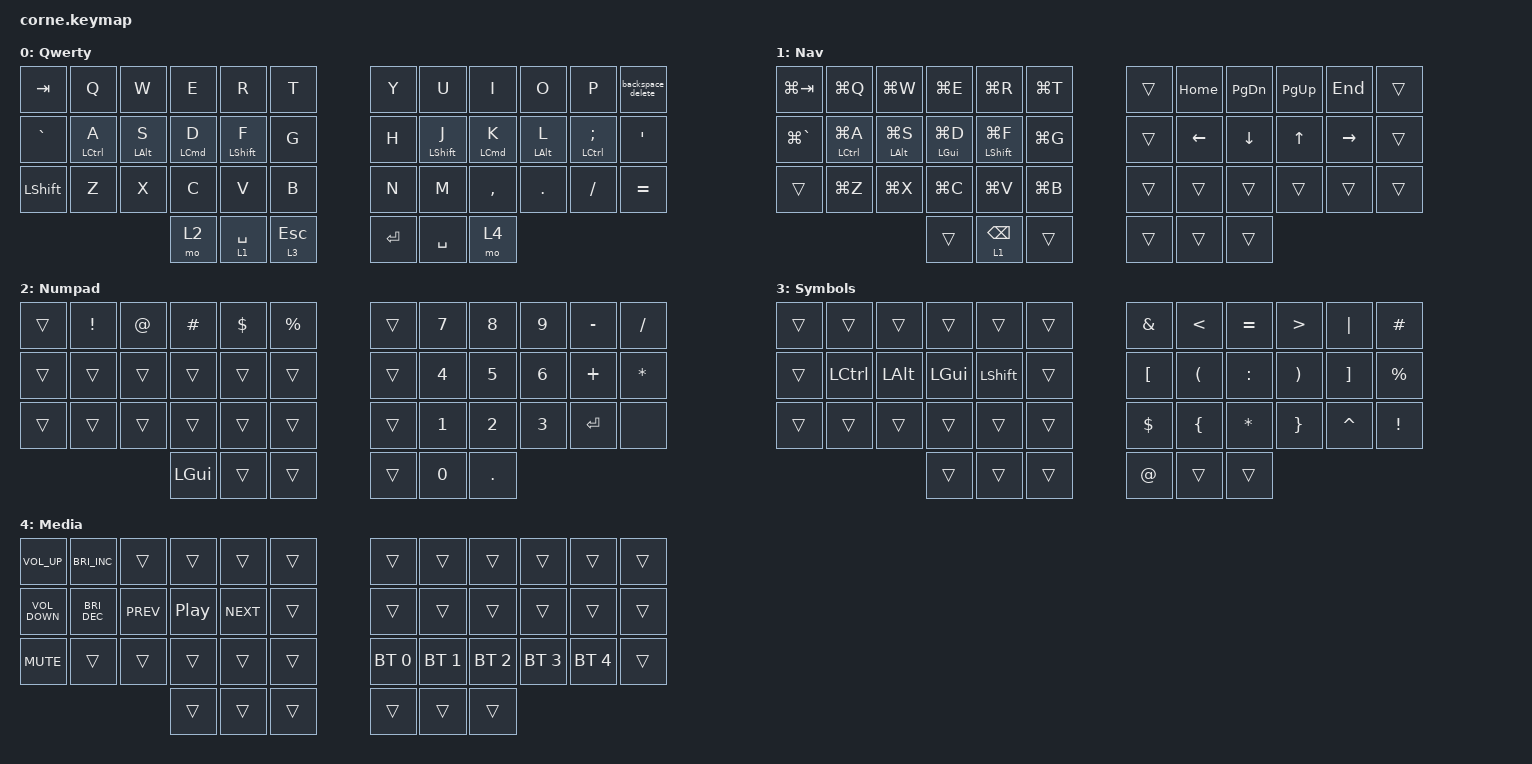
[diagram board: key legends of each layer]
/*
 * Copyright (c) 2020 The ZMK Contributors
 *
 * SPDX-License-Identifier: MIT
 */

#include <behaviors.dtsi>
#include <dt-bindings/zmk/bt.h>
#include <dt-bindings/zmk/keys.h>

&led_strip { chain-length = <27>; };

/ {
    behaviors {
        hml: hml {
            compatible = "zmk,behavior-hold-tap";
            label = "HML";
            #binding-cells = <2>;
            require-prior-idle-ms = <150>;
            tapping-term-ms = <280>;
            quick-tap-ms = <175>;
            flavor = "balanced";
            hold-trigger-key-positions = <39 40 6 7 8 9 10 11 18 19 20 21 22 23 30 31 32 33 34 35 40 41 36 37 38>;
            hold-trigger-on-release;
            bindings = <&kp>, <&kp>;
        };

        hmr: hmr {
            compatible = "zmk,behavior-hold-tap";
            label = "HMR";
            #binding-cells = <2>;
            bindings = <&kp>, <&kp>;

            tapping-term-ms = <280>;
            quick-tap-ms = <175>;
            require-prior-idle-ms = <150>;
            flavor = "balanced";
            hold-trigger-key-positions = <0 1 2 3 4 5 12 13 14 15 16 17 24 25 26 27 28 29 36 37 38 39 40 41>;
            hold-trigger-on-release;
        };

        backspace_delete: backspace_delete {
            compatible = "zmk,behavior-mod-morph";
            label = "BACKSPACE_DELETE";
            bindings = <&kp BACKSPACE>, <&kp DELETE>;

            #binding-cells = <0>;
            mods = <(MOD_LSFT|MOD_RSFT)>;
        };
    };

    combos {
        compatible = "zmk,combos";

        Caps {
            bindings = <&caps_word>;
            key-positions = <16 19>;
            layers = <0>;
        };
    };

    keymap {
        compatible = "zmk,keymap";

        QWERTY {
            // -----------------------------------------------------------------------------------------
            // |  TAB |  Q  |  W  |  E  |  R  |  T  |   |  Y  |  U   |  I  |  O  |  P  | BKSP |
            // | CTRL |  A  |  S  |  D  |  F  |  G  |   |  H  |  J   |  K  |  L  |  ;  |  '   |
            // | SHFT |  Z  |  X  |  C  |  V  |  B  |   |  N  |  M   |  ,  |  .  |  /  | SHFT |
            //                    | GUI | LWR | ENT |   | SPC | RSE  | ALT |

            display-name = "Qwerty";
            bindings = <
&kp TAB         &kp Q         &kp W            &kp E                &kp R          &kp T        &kp Y    &kp U              &kp I                &kp O            &kp P            &backspace_delete
&kp GRAVE       &hml LCTRL A  &hml LEFT_ALT S  &hml LEFT_COMMAND D  &hml LSHIFT F  &kp G        &kp H    &hmr LEFT_SHIFT J  &hmr LEFT_COMMAND K  &hmr LEFT_ALT L  &hmr LCTRL SEMI  &kp SQT
&kp LEFT_SHIFT  &kp Z         &kp X            &kp C                &kp V          &kp B        &kp N    &kp M              &kp COMMA            &kp DOT          &kp FSLH         &kp EQUAL
                                               &mo 2                &lt 1 SPACE    &lt 3 ESC    &kp RET  &kp SPACE          &mo 4
            >;
        };

        Navigation {
            // -----------------------------------------------------------------------------------------
            // |  TAB |  1    |  2  |  3  |  4  |  5  |   |  6  |  7  |  8  |  9  |  0  | BKSP |
            // | LCTRL| BTCLR | BT0 | BT1 | BT2 | BT3 |   | LFT | DWN |  UP | RGT |     |      |
            // | ESC  |       | HOME| PGUP| PGDN| END |   |     |     |     |     |     |      |
            //                      | GUI |     | SPC |   | ENT |     | ALT |

            display-name = "Nav";
            bindings = <
&kp LG(TAB)    &kp LG(Q)                &kp LG(W)            &kp LG(E)            &kp LG(R)              &kp LG(T)    &trans  &kp HOME  &kp PAGE_DOWN  &kp PAGE_UP  &kp END    &trans
&kp LG(GRAVE)  &hml LEFT_CONTROL LG(A)  &hml LEFT_ALT LG(S)  &hml LEFT_GUI LG(D)  &hml LEFT_SHIFT LG(F)  &kp LG(G)    &trans  &kp LEFT  &kp DOWN       &kp UP       &kp RIGHT  &trans
&trans         &kp LG(Z)                &kp LG(X)            &kp LG(C)            &kp LG(V)              &kp LG(B)    &trans  &trans    &trans         &trans       &trans     &trans
                                                             &trans               &lt 1 BACKSPACE        &trans       &trans  &trans    &trans
            >;
        };

        Numpad {
            // -----------------------------------------------------------------------------------------
            // |  TAB |   !   |   @   |   #   |   $   |   %   |   |  ^  |  &  |  *  |  (  |  )  | BKSP |
            // | CTRL |RGB_TOG|RGB_HUI|RGB_SAI|RGB_VAI|       |   |  -  |  =  |  [  |  ]  |  \  |  `   |
            // | SHFT |RGB_MOD|RGB_HUD|RGB_SAD|RGB_VAD|QK_BOOT|   |  _  |  +  |  {  |  }  | "|" |  ~   |
            //                            | GUI |     |  SPC  |   | ENT |     | ALT |

            display-name = "Numpad";
            bindings = <
&trans  &kp EXCL  &kp AT  &kp HASH  &kp DLLR  &kp PRCNT    &trans  &kp NUMBER_7  &kp N8        &kp NUMBER_9  &kp MINUS  &kp SLASH
&trans  &trans    &trans  &trans    &trans    &trans       &trans  &kp NUMBER_4  &kp NUMBER_5  &kp NUMBER_6  &kp PLUS   &kp ASTERISK
&trans  &trans    &trans  &trans    &trans    &trans       &trans  &kp NUMBER_1  &kp NUMBER_2  &kp NUMBER_3  &kp ENTER  &none
                          &kp LGUI  &trans    &trans       &trans  &kp NUMBER_0  &kp PERIOD
            >;
        };

        Symbols {
            display-name = "Symbols";
            bindings = <
&trans  &trans            &trans        &trans        &trans          &trans    &kp AMPS    &kp LESS_THAN         &kp EQUAL     &kp GREATER_THAN       &kp PIPE   &kp POUND
&trans  &kp LEFT_CONTROL  &kp LEFT_ALT  &kp LEFT_GUI  &kp LEFT_SHIFT  &trans    &kp LBKT    &kp LEFT_PARENTHESIS  &kp COLON     &kp RIGHT_PARENTHESIS  &kp RBKT   &kp PERCENT
&trans  &trans            &trans        &trans        &trans          &trans    &kp DOLLAR  &kp LEFT_BRACE        &kp ASTERISK  &kp RIGHT_BRACE        &kp CARET  &kp EXCL
                                        &trans        &trans          &trans    &kp AT      &trans                &trans
            >;
        };

        Media {
            display-name = "Media";
            bindings = <
&kp C_VOLUME_UP    &kp C_BRIGHTNESS_INC  &trans      &trans            &trans      &trans    &trans        &trans        &trans        &trans        &trans        &trans
&kp C_VOLUME_DOWN  &kp C_BRIGHTNESS_DEC  &kp C_PREV  &kp C_PLAY_PAUSE  &kp C_NEXT  &trans    &trans        &trans        &trans        &trans        &trans        &trans
&kp K_MUTE         &trans                &trans      &trans            &trans      &trans    &bt BT_SEL 0  &bt BT_SEL 1  &bt BT_SEL 2  &bt BT_SEL 3  &bt BT_SEL 4  &trans
                                                     &trans            &trans      &trans    &trans        &trans        &trans
            >;
        };
    };
};
